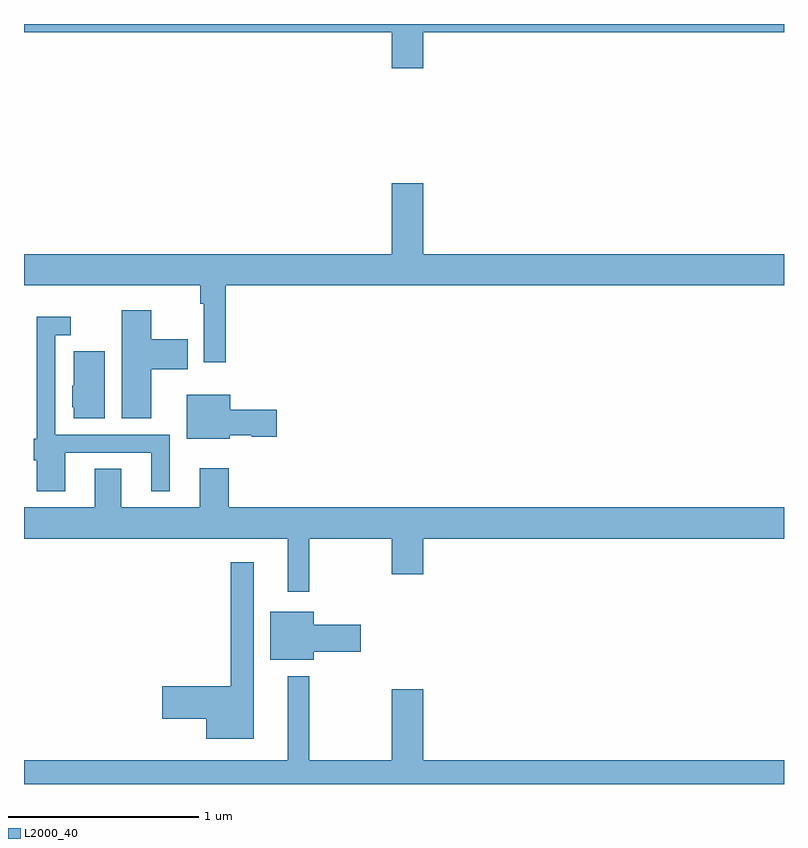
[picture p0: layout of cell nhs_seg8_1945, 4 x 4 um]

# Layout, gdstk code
import gdstk
lib = gdstk.Library(unit=1e-6, precision=1e-09)
def P(c, l, *ps):  # polygons
    for p in ps: c.add(gdstk.Polygon(p, *l))
L2000_40 = (2000, 40)

nhs_seg8_1945 = lib.new_cell('nhs_seg8_1945')
P(nhs_seg8_1945, L2000_40, [(237.1,1093.856),(239,1093.856),(239,1093.9),(235,1093.9),(235,1093.856),(236.936,1093.856),(236.936,1093.668),(237.1,1093.668)],
  [(236.063,1092.524),(239,1092.524),(239,1092.688),(237.1,1092.688),(237.1,1093.063),(236.936,1093.063),(236.936,1092.688),(235,1092.688),(235,1092.524),(235.927,1092.524),(235.927,1092.428),(235.947,1092.428),(235.947,1092.12),(236.063,1092.12)],
  [(235.669,1092.083),(235.862,1092.083),(235.862,1092.241),(235.669,1092.241),(235.669,1092.394),(235.514,1092.394),(235.514,1091.824),(235.669,1091.824)],
  [(235.216,1091.643),(235.67,1091.643),(235.67,1091.442),(235.768,1091.442),(235.768,1091.739),(235.164,1091.739),(235.164,1092.261),(235.246,1092.261),(235.246,1092.358),(235.067,1092.358),(235.067,1091.718),(235.052,1091.718),(235.052,1091.604),(235.067,1091.604),(235.067,1091.442),(235.216,1091.442)],
  [(235.426,1092.178),(235.262,1092.178),(235.262,1091.997),(235.253,1091.997),(235.253,1091.883),(235.262,1091.883),(235.262,1091.824),(235.426,1091.824)],
  [(236.082,1091.735),(236.199,1091.735),(236.199,1091.728),(236.329,1091.728),(236.329,1091.87),(236.086,1091.87),(236.086,1091.95),(235.856,1091.95),(235.856,1091.717),(236.082,1091.717)],
  [(236.501,1091.192),(236.936,1091.192),(236.936,1091.004),(237.1,1091.004),(237.1,1091.192),(239,1091.192),(239,1091.356),(236.078,1091.356),(236.078,1091.563),(235.925,1091.563),(235.925,1091.356),(235.513,1091.356),(235.513,1091.558),(235.373,1091.558),(235.373,1091.356),(235,1091.356),(235,1091.192),(236.387,1091.192),(236.387,1090.911),(236.501,1090.911)],
  [(236.209,1091.068),(236.088,1091.068),(236.088,1090.415),(235.728,1090.415),(235.728,1090.244),(235.958,1090.244),(235.958,1090.139),(236.209,1090.139)],
  [(236.524,1090.595),(236.773,1090.595),(236.773,1090.737),(236.524,1090.737),(236.524,1090.807),(236.297,1090.807),(236.297,1090.553),(236.524,1090.553)],
  [(239,1090.024),(237.1,1090.024),(237.1,1090.399),(236.936,1090.399),(236.936,1090.024),(236.501,1090.024),(236.501,1090.468),(236.387,1090.468),(236.387,1090.024),(235,1090.024),(235,1089.9),(239,1089.9)])

lib.write_gds('nhs_seg8_1945.gds')
